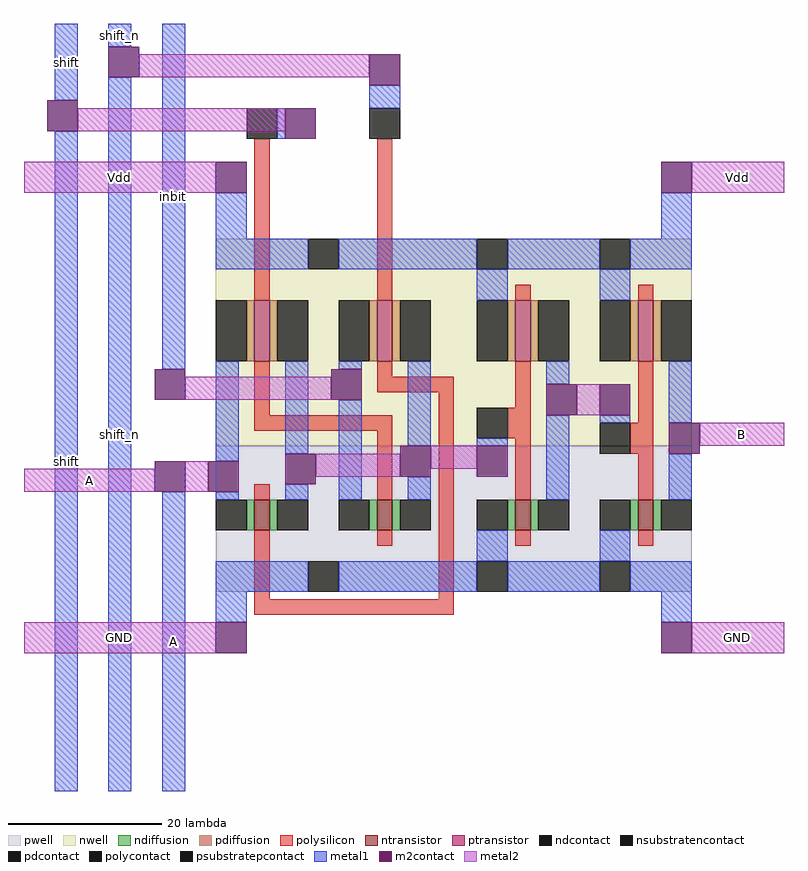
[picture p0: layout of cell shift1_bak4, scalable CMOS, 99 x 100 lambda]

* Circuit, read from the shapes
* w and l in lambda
.subckt shift1_bak4 A B GND Vdd inbit shift shift_n
M1 n1 shift_n A GND nfet w=4 l=2
M2 n1 shift inbit GND nfet w=4 l=2
M3 n2 n1 GND GND nfet w=4 l=2
M4 B n2 GND GND nfet w=4 l=2
M5 n1 shift A Vdd pfet w=8 l=2
M6 n1 shift_n inbit Vdd pfet w=8 l=2
M7 n2 n1 Vdd Vdd pfet w=8 l=2
M8 B n2 Vdd Vdd pfet w=8 l=2
.ends

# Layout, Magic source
magic
tech scmos
<< pwell >>
rect -1 3 61 22
<< nwell >>
rect -1 22 61 49
<< polysilicon >>
rect 4 41 6 62
rect 20 41 22 62
rect 38 41 40 43
rect 54 41 56 43
rect 4 26 6 33
rect 20 31 22 33
rect 20 29 30 31
rect 4 24 22 26
rect 4 15 6 17
rect 20 15 22 24
rect 4 2 6 11
rect 20 9 22 11
rect 28 2 30 29
rect 38 27 40 33
rect 37 23 40 27
rect 54 25 56 33
rect 38 15 40 23
rect 53 21 56 25
rect 54 15 56 21
rect 38 9 40 11
rect 54 9 56 11
rect 4 0 30 2
<< ndiffusion >>
rect 3 11 4 15
rect 6 11 7 15
rect 19 11 20 15
rect 22 11 23 15
rect 37 11 38 15
rect 40 11 41 15
rect 53 11 54 15
rect 56 11 57 15
<< pdiffusion >>
rect 3 33 4 41
rect 6 33 7 41
rect 19 33 20 41
rect 22 33 23 41
rect 37 33 38 41
rect 40 33 41 41
rect 53 33 54 41
rect 56 33 57 41
<< metal1 >>
rect -22 67 -19 77
rect -22 -23 -19 63
rect -15 74 -12 77
rect -15 -23 -12 70
rect -8 32 -5 77
rect 19 66 23 69
rect 7 62 8 66
rect -1 49 3 55
rect 57 49 61 55
rect -1 45 11 49
rect 15 45 33 49
rect 37 45 49 49
rect 53 45 61 49
rect 33 41 37 45
rect 49 41 53 45
rect -1 20 2 33
rect -8 -23 -5 16
rect -1 15 2 16
rect 8 21 11 33
rect 15 32 18 33
rect 8 15 11 17
rect 15 15 18 28
rect 24 22 27 33
rect 42 30 45 33
rect 33 22 37 23
rect 24 15 27 18
rect 42 15 45 26
rect 49 25 53 26
rect 58 25 61 33
rect 58 15 61 21
rect 33 7 37 11
rect 49 7 53 11
rect -1 3 11 7
rect 15 3 33 7
rect 37 3 49 7
rect 53 3 61 7
rect -1 -1 3 3
rect 57 -1 61 3
<< metal2 >>
rect -11 70 19 73
rect -19 63 8 66
rect -26 55 -1 59
rect 61 55 73 59
rect -5 28 14 31
rect 46 26 49 30
rect -26 16 -9 19
rect -5 16 -2 20
rect 12 18 23 21
rect 27 19 33 22
rect 62 22 73 25
rect -26 -5 -1 -1
rect 61 -5 73 -1
<< ntransistor >>
rect 4 11 6 15
rect 20 11 22 15
rect 38 11 40 15
rect 54 11 56 15
<< ptransistor >>
rect 4 33 6 41
rect 20 33 22 41
rect 38 33 40 41
rect 54 33 56 41
<< polycontact >>
rect 3 62 7 66
rect 19 62 23 66
rect 33 23 37 27
rect 49 21 53 25
<< ndcontact >>
rect -1 11 3 15
rect 7 11 11 15
rect 15 11 19 15
rect 23 11 27 15
rect 33 11 37 15
rect 41 11 45 15
rect 49 11 53 15
rect 57 11 61 15
<< pdcontact >>
rect -1 33 3 41
rect 7 33 11 41
rect 15 33 19 41
rect 23 33 27 41
rect 33 33 37 41
rect 41 33 45 41
rect 49 33 53 41
rect 57 33 61 41
<< m2contact >>
rect -23 63 -19 67
rect -15 70 -11 74
rect 19 69 23 73
rect 8 62 12 66
rect -1 55 3 59
rect 57 55 61 59
rect -9 28 -5 32
rect -9 16 -5 20
rect -2 16 2 20
rect 14 28 18 32
rect 8 17 12 21
rect 23 18 27 22
rect 33 18 37 22
rect 42 26 46 30
rect 49 26 53 30
rect 58 21 62 25
rect -1 -5 3 -1
rect 57 -5 61 -1
<< psubstratepcontact >>
rect 11 3 15 7
rect 33 3 37 7
rect 49 3 53 7
<< nsubstratencontact >>
rect 11 45 15 49
rect 33 45 37 49
rect 49 45 53 49
<< labels >>
rlabel metal1 -22 67 -19 77 1 shift
rlabel metal1 -15 74 -12 77 1 shift_n
rlabel metal1 -8 32 -5 77 1 inbit
rlabel metal2 -26 16 -9 19 7 A
rlabel metal1 -8 -23 -5 16 5 A
rlabel metal1 -22 -23 -19 63 5 shift
rlabel metal1 -15 -23 -12 70 5 shift_n
rlabel metal2 -26 55 -1 59 7 Vdd
rlabel metal2 -26 -5 -1 -1 7 GND
rlabel metal2 61 55 73 59 3 Vdd
rlabel metal2 61 -5 73 -1 3 GND
rlabel metal2 62 22 73 25 3 B
<< end >>
